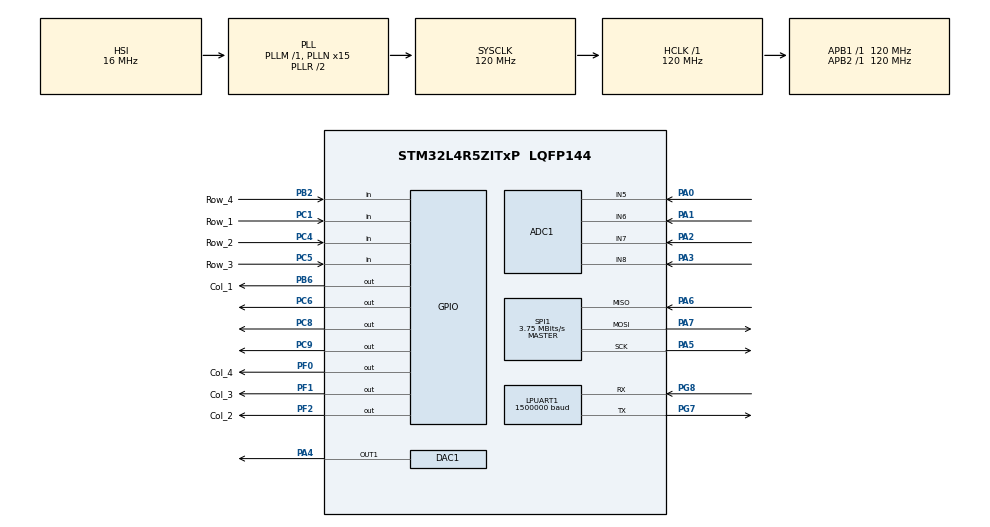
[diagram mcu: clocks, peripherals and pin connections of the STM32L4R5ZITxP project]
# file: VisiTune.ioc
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ADC1.Channel-0\#ChannelRegularConversion=ADC_CHANNEL_5
ADC1.Channel-1\#ChannelRegularConversion=ADC_CHANNEL_6
ADC1.Channel-2\#ChannelRegularConversion=ADC_CHANNEL_7
ADC1.Channel-3\#ChannelRegularConversion=ADC_CHANNEL_8
ADC1.ContinuousConvMode=DISABLE
ADC1.DMAContinuousRequests=DISABLE
ADC1.ExternalTrigConv=ADC_SOFTWARE_START
ADC1.NbrOfConversion=4
ADC1.NbrOfConversionFlag=1
ADC1.OffsetNumber-0\#ChannelRegularConversion=ADC_OFFSET_NONE
ADC1.OffsetNumber-1\#ChannelRegularConversion=ADC_OFFSET_NONE
ADC1.OffsetNumber-2\#ChannelRegularConversion=ADC_OFFSET_NONE
ADC1.OffsetNumber-3\#ChannelRegularConversion=ADC_OFFSET_NONE
ADC1.Rank-0\#ChannelRegularConversion=1
ADC1.Rank-1\#ChannelRegularConversion=2
ADC1.Rank-2\#ChannelRegularConversion=3
ADC1.Rank-3\#ChannelRegularConversion=4
ADC1.SamplingTime-0\#ChannelRegularConversion=ADC_SAMPLETIME_247CYCLES_5
ADC1.SamplingTime-1\#ChannelRegularConversion=ADC_SAMPLETIME_247CYCLES_5
ADC1.SamplingTime-2\#ChannelRegularConversion=ADC_SAMPLETIME_247CYCLES_5
ADC1.SamplingTime-3\#ChannelRegularConversion=ADC_SAMPLETIME_247CYCLES_5
ADC1.master=1
DAC1.DAC_Trigger-DAC_OUT1=DAC_TRIGGER_T2_TRGO
Dma.ADC1.1.Direction=DMA_PERIPH_TO_MEMORY
Dma.ADC1.1.EventEnable=DISABLE
Dma.ADC1.1.Instance=DMA1_Channel2
Dma.ADC1.1.MemDataAlignment=DMA_MDATAALIGN_HALFWORD
Dma.ADC1.1.MemInc=DMA_MINC_ENABLE
Dma.ADC1.1.Mode=DMA_CIRCULAR
Dma.ADC1.1.PeriphDataAlignment=DMA_PDATAALIGN_HALFWORD
Dma.ADC1.1.PeriphInc=DMA_PINC_DISABLE
Dma.ADC1.1.Polarity=HAL_DMAMUX_REQUEST_GEN_RISING
Dma.ADC1.1.Priority=DMA_PRIORITY_LOW
Dma.ADC1.1.RequestNumber=1
Dma.ADC1.1.SignalID=NONE
Dma.ADC1.1.SyncEnable=DISABLE
Dma.ADC1.1.SyncPolarity=HAL_DMAMUX_SYNC_NO_EVENT
Dma.ADC1.1.SyncRequestNumber=1
Dma.ADC1.1.SyncSignalID=NONE
Dma.DAC1_CH1.0.Direction=DMA_MEMORY_TO_PERIPH
Dma.DAC1_CH1.0.EventEnable=DISABLE
Dma.DAC1_CH1.0.Instance=DMA1_Channel1
Dma.DAC1_CH1.0.MemDataAlignment=DMA_MDATAALIGN_HALFWORD
Dma.DAC1_CH1.0.MemInc=DMA_MINC_ENABLE
Dma.DAC1_CH1.0.Mode=DMA_CIRCULAR
Dma.DAC1_CH1.0.PeriphDataAlignment=DMA_PDATAALIGN_HALFWORD
Dma.DAC1_CH1.0.PeriphInc=DMA_PINC_DISABLE
Dma.DAC1_CH1.0.Polarity=HAL_DMAMUX_REQUEST_GEN_RISING
Dma.DAC1_CH1.0.Priority=DMA_PRIORITY_LOW
Dma.DAC1_CH1.0.RequestNumber=1
Dma.DAC1_CH1.0.SignalID=NONE
Dma.DAC1_CH1.0.SyncEnable=DISABLE
Dma.DAC1_CH1.0.SyncPolarity=HAL_DMAMUX_SYNC_NO_EVENT
Dma.DAC1_CH1.0.SyncRequestNumber=1
Dma.DAC1_CH1.0.SyncSignalID=NONE
Dma.LPUART1_RX.2.Direction=DMA_PERIPH_TO_MEMORY
Dma.LPUART1_RX.2.EventEnable=DISABLE
Dma.LPUART1_RX.2.Instance=DMA1_Channel3
Dma.LPUART1_RX.2.MemDataAlignment=DMA_MDATAALIGN_BYTE
Dma.LPUART1_RX.2.MemInc=DMA_MINC_ENABLE
Dma.LPUART1_RX.2.Mode=DMA_NORMAL
Dma.LPUART1_RX.2.PeriphDataAlignment=DMA_PDATAALIGN_BYTE
Dma.LPUART1_RX.2.PeriphInc=DMA_PINC_DISABLE
Dma.LPUART1_RX.2.Polarity=HAL_DMAMUX_REQUEST_GEN_RISING
Dma.LPUART1_RX.2.Priority=DMA_PRIORITY_LOW
Dma.LPUART1_RX.2.RequestNumber=1
Dma.LPUART1_RX.2.SignalID=NONE
Dma.LPUART1_RX.2.SyncEnable=DISABLE
Dma.LPUART1_RX.2.SyncPolarity=HAL_DMAMUX_SYNC_NO_EVENT
Dma.LPUART1_RX.2.SyncRequestNumber=1
Dma.LPUART1_RX.2.SyncSignalID=NONE
Dma.Request0=DAC1_CH1
Dma.Request1=ADC1
Dma.Request2=LPUART1_RX
LPUART1.BaudRate=1500000
LPUART1.WordLength=UART_WORDLENGTH_8B
Mcu.Family=STM32L4
Mcu.Name=STM32L4R5ZITxP
Mcu.Package=LQFP144
NVIC.ADC1_IRQn=true\:0\:0\:false\:false\:true\:true\:true\:true
NVIC.DMA1_Channel1_IRQn=true\:0\:0\:false\:false\:true\:false\:true\:true
NVIC.DMA1_Channel2_IRQn=true\:0\:0\:false\:false\:true\:false\:true\:true
NVIC.DMA1_Channel3_IRQn=true\:0\:0\:false\:false\:true\:false\:true\:true
NVIC.PriorityGroup=NVIC_PRIORITYGROUP_4
PA0.Signal=ADCx_IN5
PA1.Signal=ADCx_IN6
PA10.Signal=USB_OTG_FS_ID
PA13\ (JTMS/SWDIO).Signal=SYS_JTMS-SWDIO
PA14\ (JTCK/SWCLK).Signal=SYS_JTCK-SWCLK
PA2.Signal=ADCx_IN7
PA3.Signal=ADCx_IN8
PA4.Signal=COMP_DAC11_group
PA5.Mode=Full_Duplex_Master
PA5.Signal=SPI1_SCK
PA6.Mode=Full_Duplex_Master
PA6.Signal=SPI1_MISO
PA7.Mode=Full_Duplex_Master
PA7.Signal=SPI1_MOSI
PA8.Signal=USB_OTG_FS_SOF
PA9.Signal=USB_OTG_FS_VBUS
PB0.Signal=S_TIM3_CH3
PB1.Signal=ADCx_IN16
PB10.Signal=S_TIM2_CH3
PB12.Signal=SAI2_FS_A
PB13.Signal=SAI2_SCK_A
PB14.Signal=S_TIM15_CH1
PB15.Signal=SAI2_SD_A
PB2.GPIO_Label=Row_4
PB2.GPIO_PuPd=GPIO_PULLUP
PB2.Signal=GPIO_Input
PB3\ (JTDO/TRACESWO).Signal=SPI3_SCK
PB4\ (NJTRST).Signal=SPI3_MISO
PB5.Signal=SPI3_MOSI
PB6.GPIO_Label=Col_1
PB6.Signal=GPIO_Output
PB8.Signal=I2C1_SCL
PB9.Signal=I2C1_SDA
PC0.Signal=ADCx_IN1
PC1.GPIO_Label=Row_1
PC1.GPIO_Mode=GPIO_MODE_INPUT
PC1.GPIO_PuPd=GPIO_PULLUP
PC1.Signal=GPIO_Input
PC10.Signal=SDMMC1_D2
PC11.Signal=SDMMC1_D3
PC12.Signal=SDMMC1_CK
PC13.Signal=SYS_WKUP2
PC14-OSC32_IN\ (PC14).Signal=RCC_OSC32_IN
PC15-OSC32_OUT\ (PC15).Signal=RCC_OSC32_OUT
PC2.Signal=ADCx_IN3
PC3.Signal=ADCx_IN4
PC4.GPIO_Label=Row_2
PC4.GPIO_Mode=GPIO_MODE_INPUT
PC4.GPIO_PuPd=GPIO_PULLUP
PC4.Signal=GPIO_Input
PC5.GPIO_Label=Row_3
PC5.GPIO_Mode=GPIO_MODE_INPUT
PC5.GPIO_PuPd=GPIO_PULLUP
PC5.Signal=GPIO_Input
PC6.Signal=GPIO_Output
PC7.Signal=S_TIM3_CH2
PC8.Signal=GPIO_Output
PC9.Signal=GPIO_Output
PD0.Signal=CAN1_RX
PD14.Signal=S_TIM4_CH3
PD15.Signal=S_TIM4_CH4
PD2.Signal=SDMMC1_CMD
PD3.Signal=USART2_CTS
PD5.Signal=USART2_TX
PD6.Signal=USART2_RX
PD8.Signal=USART3_TX
PD9.Signal=USART3_RX
PE0.Signal=S_TIM4_ETR
PE10.Signal=TIM1_CH2N
PE11.Signal=S_TIM1_CH2
PE12.Signal=TIM1_CH3N
PE13.Signal=S_TIM1_CH3
PE14.Signal=TIM1_BKIN2
PE15.Signal=TIM1_BKIN
PE2.Signal=SAI1_MCLK_A
PE3.Signal=SAI1_SD_B
PE7.Signal=S_TIM1_ETR
PE8.Signal=TIM1_CH1N
PE9.Signal=S_TIM1_CH1
PF0.GPIO_Label=Col_4
PF0.Signal=GPIO_Output
PF1.GPIO_Label=Col_3
PF1.Signal=GPIO_Output
PF2.GPIO_Label=Col_2
PF2.Signal=GPIO_Output
PF7.Signal=SAI1_MCLK_B
PG7.Mode=Asynchronous
PG7.Signal=LPUART1_TX
PG8.Mode=Asynchronous
PG8.Signal=LPUART1_RX
PH0-OSC_IN\ (PH0).Signal=RCC_OSC_IN
PH1-OSC_OUT\ (PH1).Signal=RCC_OSC_OUT
ProjectManager.HeapSize=0x200
ProjectManager.StackSize=0x400
ProjectManager.TargetToolchain=STM32CubeIDE
RCC.ADCFreq_Value=64000000
RCC.AHBFreq_Value=120000000
RCC.APB1Freq_Value=120000000
RCC.APB1TimFreq_Value=120000000
RCC.APB2Freq_Value=120000000
RCC.APB2TimFreq_Value=120000000
RCC.CortexFreq_Value=120000000
RCC.HCLKFreq_Value=120000000
RCC.HSE_VALUE=8000000
RCC.HSI48_VALUE=48000000
RCC.HSI_VALUE=16000000
RCC.LPUART1CLockSelection=RCC_LPUART1CLKSOURCE_HSI
RCC.LSE_VALUE=32768
RCC.MSI_VALUE=4000000
RCC.PLLN=15
RCC.PLLSourceVirtual=RCC_PLLSOURCE_HSI
RCC.SYSCLKFreq_VALUE=120000000
RCC.SYSCLKSource=RCC_SYSCLKSOURCE_PLLCLK
RCC.USBFreq_Value=64000000
RCC.VCOOutputFreq_Value=240000000
SH.ADCx_IN1.0=ADC1_IN1
SH.ADCx_IN16.0=ADC1_IN16
SH.ADCx_IN3.0=ADC1_IN3
SH.ADCx_IN4.0=ADC1_IN4
SH.ADCx_IN5.0=ADC1_IN5,IN5-Single-Ended
SH.ADCx_IN6.0=ADC1_IN6,IN6-Single-Ended
SH.ADCx_IN7.0=ADC1_IN7,IN7-Single-Ended
SH.ADCx_IN8.0=ADC1_IN8,IN8-Single-Ended
SH.COMP_DAC11_group.0=DAC1_OUT1,DAC_OUT1
SH.S_TIM15_CH1.0=TIM15_CH1
SH.S_TIM1_CH1.0=TIM1_CH1
SH.S_TIM1_CH2.0=TIM1_CH2
SH.S_TIM1_CH3.0=TIM1_CH3
SH.S_TIM1_ETR.0=TIM1_ETR
SH.S_TIM2_CH3.0=TIM2_CH3
SH.S_TIM3_CH2.0=TIM3_CH2
SH.S_TIM3_CH3.0=TIM3_CH3
SH.S_TIM4_CH3.0=TIM4_CH3
SH.S_TIM4_CH4.0=TIM4_CH4
SH.S_TIM4_ETR.0=TIM4_ETR
SPI1.BaudRatePrescaler=SPI_BAUDRATEPRESCALER_32
SPI1.CalculateBaudRate=3.75 MBits/s
SPI1.DataSize=SPI_DATASIZE_8BIT
SPI1.Direction=SPI_DIRECTION_2LINES
SPI1.Mode=SPI_MODE_MASTER
SPI1.VirtualType=VM_MASTER
TIM1.AutoReloadPreload=TIM_AUTORELOAD_PRELOAD_ENABLE
TIM1.Period=49
TIM1.Prescaler=119
TIM2.Period=4999
TIM2.TIM_MasterOutputTrigger=TIM_TRGO_UPDATE
TIM3.TIM_MasterOutputTrigger=TIM_TRGO_UPDATE
VP_TIM1_VS_ClockSourceINT.Mode=Internal
VP_TIM2_VS_ClockSourceINT.Mode=Internal
VP_TIM3_VS_ClockSourceINT.Mode=Internal
board=NUCLEO-L4R5ZI-P

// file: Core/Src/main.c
/* USER CODE BEGIN Header */
/**
  ******************************************************************************
  * @file           : main.c
  * @brief          : Main program body
  ******************************************************************************
  * @attention
  *
  * Copyright (c) 2025 STMicroelectronics.
  * All rights reserved.
  *
  * This software is licensed under terms that can be found in the LICENSE file
  * in the root directory of this software component.
  * If no LICENSE file comes with this software, it is provided AS-IS.
  *
  ******************************************************************************
  */
/* USER CODE END Header */
#include "main.h"

/* USER CODE BEGIN Includes */
#include "packets.h"
#include "tft.h"
#include <string.h>
#include "arm_math.h"

/* USER CODE END Includes */

ADC_HandleTypeDef hadc1;
DMA_HandleTypeDef hdma_adc1;

DAC_HandleTypeDef hdac1;
DMA_HandleTypeDef hdma_dac1_ch1;

UART_HandleTypeDef hlpuart1;
DMA_HandleTypeDef hdma_lpuart1_rx;

SPI_HandleTypeDef hspi1;

TIM_HandleTypeDef htim1;
TIM_HandleTypeDef htim2;
TIM_HandleTypeDef htim3;

/* USER CODE BEGIN PV */
// ADC declarations
uint16_t adc_buf[4];
uint8_t rewind_flag = 0;
uint8_t pause_state = 0;
uint8_t forward_flag = 0;

// Keypad reading
char keyPress;

#define PKT_SYNC_SIZE    2   // 0xA5, 0x5A
#define PKT_HEADER_SIZE  (sizeof(pkt_header_t))  // 7 bytes (packed)
#define PKT_PREFIX_SIZE  (PKT_SYNC_SIZE + PKT_HEADER_SIZE) // 9 bytes before payload
#define PKT_CRC_SIZE     2

#define UART_ACK_HEADER  'H'
#define UART_ACK_OK      'S'
#define UART_ACK_ERR     'E'
#define UART_ACK_NEXT_AUDIO_CHUNK 'A'

// Packet size/overhead (must match Python script)
#define PKT_OVERHEAD     (PKT_SYNC_SIZE + PKT_HEADER_SIZE + PKT_CRC_SIZE) // 11
#define PKT_MAX_SIZE     0xFFFFu  // total packet: sync+header+payload+CRC

#define IMG_PKT_MAX_SIZE     PKT_MAX_SIZE
#define AUD_PKT_MAX_SIZE     PKT_MAX_SIZE

#define IMG_MAX_PAYLOAD_BYTES  (IMG_PKT_MAX_SIZE - PKT_OVERHEAD)
#define AUD_MAX_PAYLOAD_BYTES  (AUD_PKT_MAX_SIZE - PKT_OVERHEAD)

// DAC circular buffer: 2 halves, each half holds one max audio payload worth of samples
// 2 bytes per 16-bit PCM sample => samples = bytes/2
#define DAC_HALF_SAMPLES   (AUD_MAX_PAYLOAD_BYTES / 2u)
#define DAC_BUF_SAMPLES    (2u * DAC_HALF_SAMPLES)

// UART RX context
typedef enum {
RX_STATE_WAIT_PREFIX,   // waiting for 2 sync + 7 header bytes
RX_STATE_WAIT_PAYLOAD,  // waiting for payload (image or audio)
RX_STATE_WAIT_CRC       // waiting for audio CRC (2 bytes)
} uart_rx_state_t;

typedef struct {
	uart_rx_state_t state;
	uint8_t  prefix_buf[PKT_PREFIX_SIZE];  // 9 bytes: sync + header
	pkt_header_t header;
	uint16_t payload_len;
	uint8_t *payload_dst;                  // destination buffer for payload+CRC
} uart_rx_ctx_t;

uart_rx_ctx_t g_uart_rx;

// Buffers
uint16_t dac_buf[DAC_BUF_SAMPLES];  // DAC circular buffer

uint8_t image_pkt_buf[IMG_MAX_PAYLOAD_BYTES + PKT_CRC_SIZE];

// Audio RX views onto dac_buf halves
uint8_t *audio_pkt_buf0 = (uint8_t *)dac_buf;                      // first half
uint8_t *audio_pkt_buf1 = (uint8_t *)&dac_buf[DAC_HALF_SAMPLES];   // second half

// NEW: CRC storage for audio packets
uint8_t audio_crc_buf[PKT_CRC_SIZE];

// Flags
volatile uint8_t  image_pkt_ready = 0;
volatile uint16_t image_pkt_len   = 0;

volatile uint8_t  audio_pkt_ready = 0;
volatile uint8_t  audio_write_idx = 0;   // 0 or 1
volatile uint16_t audio_pkt_len   = 0;

// Which halves of dac_buf are free to write into
volatile uint8_t half0_free = 1;  // dac_buf[0 .. DAC_HALF_SAMPLES-1]
volatile uint8_t half1_free = 1;  // dac_buf[DAC_HALF_SAMPLES .. end]

q15_t filter_buf[DAC_HALF_SAMPLES];
#define FFT_SIZE 1024
#define FFT_INCREMENT (FFT_SIZE / 2)

float32_t fft_in[FFT_SIZE];
float32_t fft_out[FFT_SIZE];
float32_t overlap[FFT_INCREMENT];
static float32_t window[FFT_SIZE];
q15_t debug_out_buffer[DAC_HALF_SAMPLES];

arm_rfft_fast_instance_f32 rfft;

//END FILTERING
/* USER CODE END PV */

void SystemClock_Config(void);
static void MX_GPIO_Init(void);
static void MX_DMA_Init(void);
static void MX_SPI1_Init(void);
static void MX_TIM1_Init(void);
static void MX_DAC1_Init(void);
static void MX_TIM2_Init(void);
static void MX_ADC1_Init(void);
static void MX_TIM3_Init(void);
static void MX_LPUART1_UART_Init(void);
/* USER CODE BEGIN PFP */
static void uart_start_header_rx(void);
void processFFT(const q15_t* in, q15_t* out, uint16_t num_samples);
void ADC_ReadAll_Polling(void);

/* USER CODE END PFP */

/* USER CODE BEGIN 0 */

void ADC_ReadAll_Polling(void)
{
  	HAL_ADC_Start(&hadc1);
    for (int i = 0; i < 4; i++)
    {
        if (HAL_ADC_PollForConversion(&hadc1, 5) == HAL_OK)
        {
            adc_buf[i] = HAL_ADC_GetValue(&hadc1);
        }
    }
}

void processFFT(const q15_t* in, q15_t* out, uint16_t num_samples) {
	uint32_t pos = 0;
	ADC_ReadAll_Polling();
	while ((pos + FFT_INCREMENT) <= num_samples) {
		for (int i = 0; i < FFT_SIZE; i++) {
			float32_t sample = 0.0f;
		    if (pos + i < num_samples) {
		    	sample = (float32_t)in[pos + i] / 32768.0f;  // q15 → float
		    }
		    fft_in[i] = sample * window[i];
		}

		arm_rfft_fast_f32(&rfft, fft_in, fft_out, 0);

		int low_bin = 40;
		int high_bin = 90;
		//determine lowShelfGain (tied to adc_buf[0]
		uint32_t dial0 = adc_buf[0];
		if (dial0 < 15) dial0 = 0;
		if (dial0 > 4000) dial0 = 4000;
		uint32_t dial1 = adc_buf[1];
		if (dial1 < 15) dial1 = 0;
		if (dial1 > 4000) dial1 = 4000;
		float32_t lowShelfGain = (dial0 * 1.0)/2000 * 1.0f;
		float32_t highShelfGain = (dial1 * 1.0)/2000 * 1.0f;

		for (int b = 0; b < low_bin; b++) {
			float32_t t = (float)b / (float)low_bin; // 0..1
			float32_t weight = lowShelfGain + (1.0f - lowShelfGain) * t;
			fft_out[b*2] *= weight;
			fft_out[b*2+1] *= weight;
		}

		for (int b = low_bin; b < high_bin; b++) {
//			float32_t t = (float)(b - high_bin) / (float)((300 - high_bin) - 1); // 0..1
//			float32_t weight = 1.0f + (highShelfGain - 1.0f) * t;
			float32_t t = (float)b / (float)low_bin; // 0..1
			float32_t weight = highShelfGain + (1.0f - highShelfGain) * t;
			fft_out[b*2] *= weight;
			fft_out[b*2+1] *= weight;
		}

		arm_rfft_fast_f32(&rfft, fft_out, fft_in, 1);

		//don't get this
		for (int i = 0; i < FFT_INCREMENT; i++) {
			fft_in[i] += overlap[i];
		}
		//end don't get this

		for (int i = 0; i < FFT_INCREMENT && pos + i < num_samples; i++) {
			float32_t x = fft_in[i];
			if (x > 0.8f) x = 0.8f; //used to be 1.0
			if (x < -0.8f) x = -0.8f; //same
			out[pos + i] = (int16_t)(x * 32767.0f);
		}

		for (int i = 0; i < FFT_INCREMENT; ++i) {
			overlap[i] = fft_in[i+FFT_INCREMENT];
		}

		pos += FFT_INCREMENT;
	}
}

char read_keypad() {
	// Row pins
	GPIO_TypeDef* ROW_PORT[4] = {Row_1_GPIO_Port, Row_2_GPIO_Port, Row_3_GPIO_Port, Row_4_GPIO_Port};
	uint16_t      ROW_PIN[4]  = {Row_1_Pin,       Row_2_Pin,       Row_3_Pin,       Row_4_Pin};

	// Col pins
	GPIO_TypeDef* COL_PORT[4] = {Col_1_GPIO_Port, Col_2_GPIO_Port, Col_3_GPIO_Port, Col_4_GPIO_Port};
	uint16_t     COL_PIN[4]  = {Col_1_Pin,       Col_2_Pin,       Col_3_Pin,       Col_4_Pin};

	// Key map (customize to your keypad)
	char KEY_MAP[4][4] =
	{
		{'1','2','3','A'},
		{'4','5','6','B'},
		{'7','8','9','C'},
		{'*','0','#','D'}
	};

	for (int c = 0; c < 4; c++)
	{
		// Drive all columns HIGH
		for (int i = 0; i < 4; i++)
			HAL_GPIO_WritePin(COL_PORT[i], COL_PIN[i], GPIO_PIN_SET);

		// Drive only this column LOW
		HAL_GPIO_WritePin(COL_PORT[c], COL_PIN[c], GPIO_PIN_RESET);

		HAL_Delay(1); // settle time

		// Read each row
		for (int r = 0; r < 4; r++)
		{
			if (HAL_GPIO_ReadPin(ROW_PORT[r], ROW_PIN[r]) == GPIO_PIN_RESET)
			{
				HAL_Delay(20);   // debounce
				if (HAL_GPIO_ReadPin(ROW_PORT[r], ROW_PIN[r]) == GPIO_PIN_RESET)
					return KEY_MAP[r][c];
			}
		}
	}

	return 0;
}

/* USER CODE END 0 */

int main(void)
{

  /* MCU Configuration--------------------------------------------------------*/

  /* Reset of all peripherals, Initializes the Flash interface and the Systick. */
  HAL_Init();

  /* Configure the system clock */
  SystemClock_Config();

  /* Initialize all configured peripherals */
  MX_GPIO_Init();
  MX_DMA_Init();
  MX_SPI1_Init();
  MX_TIM1_Init();
  MX_DAC1_Init();
  MX_TIM2_Init();
  MX_ADC1_Init();
  MX_TIM3_Init();
  MX_LPUART1_UART_Init();
  /* USER CODE BEGIN 2 */
//  tft_init();
//  tft_fill_rect(0, 0, 480, 320, 0xAAAA);
  // HAL_GPIO_WritePin(GPIOC, GPIO_PIN_6, GPIO_PIN_SET); // LED ON

  uart_start_header_rx();

  /* Start TIM2 (48 kHz trigger) */
  HAL_TIM_Base_Start(&htim2);

  /* Init DAC circular buffer to mid-scale (silence) */
  for (uint32_t i = 0; i < DAC_BUF_SAMPLES; ++i) {
      dac_buf[i] = 2048; // mid-scale for 12-bit
  }

  /* Start DAC in circular DMA mode over dac_buf */
  if (HAL_DAC_Start_DMA(&hdac1,
                        DAC_CHANNEL_1,
                        (uint32_t *)dac_buf,
                        DAC_BUF_SAMPLES,
                        DAC_ALIGN_12B_R) != HAL_OK) {
      Error_Handler();
  }

  //INIT FIR
  arm_rfft_fast_init_f32(&rfft, FFT_SIZE);
  for (int i = 0; i < FFT_SIZE; i++) {
      window[i] = 0.5f - 0.5f * arm_cos_f32((2 * PI * i) / (FFT_SIZE - 1));
  }
  memset(overlap, 0, sizeof(overlap));
  //END INIT FIR

  // Start the ADC reads for the potentiometers and sliders
  HAL_ADCEx_Calibration_Start(&hadc1, ADC_SINGLE_ENDED);
//  HAL_TIM_Base_Start(&htim3);

  /* USER CODE END 2 */

  /* Infinite loop */
  /* USER CODE BEGIN WHILE */

  while (1)
  {

	  keyPress = read_keypad();
	  // 1) Handle image packets
	  if (image_pkt_ready) {
	      __disable_irq();
	      uint16_t payload_len = image_pkt_len;   // bytes of image payload
	      image_pkt_ready = 0;
	      __enable_irq();

	      if (payload_len  <= sizeof(image_pkt_buf)) {

	          uint16_t recv_crc =
	              ((uint16_t)image_pkt_buf[payload_len] << 8) |
	               (uint16_t)image_pkt_buf[payload_len + 1];

	          uint16_t calc_crc = crc16_ccitt(&g_uart_rx.prefix_buf[2], image_pkt_buf, payload_len);

	          if (calc_crc != recv_crc) {
	              uint8_t nack = UART_ACK_ERR;
	              HAL_UART_Transmit(&hlpuart1, &nack, 1, 10);
	          } else {
	              // Example: full-frame 480x320 RGB565
	        	  parse_and_apply_image_packet(image_pkt_buf, payload_len);
	              // else: decode according to your actual format.

	              uint8_t ack = UART_ACK_OK;
	              HAL_UART_Transmit(&hlpuart1, &ack, 1, 10);
	          }
	      } else {
	          uint8_t nack = UART_ACK_ERR;
	          HAL_UART_Transmit(&hlpuart1, &nack, 1, 10);
	      }
	  }

	  // 2) Handle audio packets (fill halves of dac_buf, DAC runs continuously)
      // 2) Handle audio packets (convert in-place in dac_buf, DAC runs continuously)
	  if (audio_pkt_ready) {
	      __disable_irq();
	      uint8_t  idx         = audio_write_idx;  // 0 or 1
	      uint16_t payload_len = audio_pkt_len;    // bytes of audio payload
	      audio_pkt_ready = 0;
	      __enable_irq();

	      // Sanity-check payload length vs half-buffer size
	      if (payload_len > AUD_MAX_PAYLOAD_BYTES) {
	          uint8_t nack = UART_ACK_ERR;
	          HAL_UART_Transmit(&hlpuart1, &nack, 1, 10);
	          continue;
	      }

	      // CRC from separate buffer (big-endian: [hi][lo])
	      uint16_t recv_crc =
	          ((uint16_t)audio_crc_buf[0] << 8) |
	           (uint16_t)audio_crc_buf[1];

	      // Payload lives in selected half of dac_buf
	      uint8_t *payload_bytes = (uint8_t *)(
	          (idx == 0)
	          ? &dac_buf[0]
	          : &dac_buf[DAC_HALF_SAMPLES]
	      );

	      uint16_t calc_crc = crc16_ccitt(&g_uart_rx.prefix_buf[2],
	                                      payload_bytes,
	                                      payload_len);

	      if (calc_crc != recv_crc) {
	          uint8_t nack = UART_ACK_ERR;
	          HAL_UART_Transmit(&hlpuart1, &nack, 1, 10);
	          continue;
	      }

	      // Good packet. Convert in-place in chosen half of dac_buf.
	      uint16_t num_samples = payload_len / 2;  // 2 bytes/sample
	      if (num_samples > DAC_HALF_SAMPLES) {
	          num_samples = DAC_HALF_SAMPLES;
	      }

	      int16_t  *src = (int16_t *)payload_bytes;        // signed PCM
	      uint16_t *dst = (uint16_t *)payload_bytes;       // same locations for DAC

	      processFFT(src, filter_buf, num_samples);

	      //Below translates src into the dst. Our goal is to turn src into the output of the FFT
	      for (uint16_t i = 0; i < num_samples; ++i) {
	          int32_t s = filter_buf[i];      // -32768..32767
	          s += 32768;              // 0..65535
	          if (s < 0)      s = 0;
	          if (s > 65535)  s = 65535;
	          dst[i] = (uint16_t)(s >> 4);   // 12-bit right aligned
	      }

	      // Pad rest of half with mid-scale if packet smaller than half
	      for (uint16_t i = num_samples; i < DAC_HALF_SAMPLES; ++i) {
	          dst[i] = 2048;
	      }

	      //dst[i] should be what we're outputting, here is where we'll mess with it

	      // Tell PC this packet was accepted and written into that half
	      uint8_t ack = UART_ACK_OK;
	      HAL_UART_Transmit(&hlpuart1, &ack, 1, 10);
	  }

    /* USER CODE END WHILE */

  }
}

void SystemClock_Config(void)
{
  RCC_OscInitTypeDef RCC_OscInitStruct = {0};
  RCC_ClkInitTypeDef RCC_ClkInitStruct = {0};

  /** Configure the main internal regulator output voltage
  */
  if (HAL_PWREx_ControlVoltageScaling(PWR_REGULATOR_VOLTAGE_SCALE1_BOOST) != HAL_OK)
  {
    Error_Handler();
  }

  /** Initializes the RCC Oscillators according to the specified parameters
  * in the RCC_OscInitTypeDef structure.
  */
  RCC_OscInitStruct.OscillatorType = RCC_OSCILLATORTYPE_HSI;
  RCC_OscInitStruct.HSIState = RCC_HSI_ON;
  RCC_OscInitStruct.HSICalibrationValue = RCC_HSICALIBRATION_DEFAULT;
  RCC_OscInitStruct.PLL.PLLState = RCC_PLL_ON;
  RCC_OscInitStruct.PLL.PLLSource = RCC_PLLSOURCE_HSI;
  RCC_OscInitStruct.PLL.PLLM = 1;
  RCC_OscInitStruct.PLL.PLLN = 15;
  RCC_OscInitStruct.PLL.PLLP = RCC_PLLP_DIV2;
  RCC_OscInitStruct.PLL.PLLQ = RCC_PLLQ_DIV2;
  RCC_OscInitStruct.PLL.PLLR = RCC_PLLR_DIV2;
  if (HAL_RCC_OscConfig(&RCC_OscInitStruct) != HAL_OK)
  {
    Error_Handler();
  }

  /** Initializes the CPU, AHB and APB buses clocks
  */
  RCC_ClkInitStruct.ClockType = RCC_CLOCKTYPE_HCLK|RCC_CLOCKTYPE_SYSCLK
                              |RCC_CLOCKTYPE_PCLK1|RCC_CLOCKTYPE_PCLK2;
  RCC_ClkInitStruct.SYSCLKSource = RCC_SYSCLKSOURCE_PLLCLK;
  RCC_ClkInitStruct.AHBCLKDivider = RCC_SYSCLK_DIV1;
  RCC_ClkInitStruct.APB1CLKDivider = RCC_HCLK_DIV1;
  RCC_ClkInitStruct.APB2CLKDivider = RCC_HCLK_DIV1;

  if (HAL_RCC_ClockConfig(&RCC_ClkInitStruct, FLASH_LATENCY_5) != HAL_OK)
  {
    Error_Handler();
  }
}

static void MX_ADC1_Init(void)
{

  ADC_ChannelConfTypeDef sConfig = {0};

  /** Common config
  */
  hadc1.Instance = ADC1;
  hadc1.Init.ClockPrescaler = ADC_CLOCK_ASYNC_DIV1;
  hadc1.Init.Resolution = ADC_RESOLUTION_12B;
  hadc1.Init.DataAlign = ADC_DATAALIGN_RIGHT;
  hadc1.Init.ScanConvMode = ADC_SCAN_ENABLE;
  hadc1.Init.EOCSelection = ADC_EOC_SINGLE_CONV;
  hadc1.Init.LowPowerAutoWait = DISABLE;
  hadc1.Init.ContinuousConvMode = DISABLE;
  hadc1.Init.NbrOfConversion = 4;
  hadc1.Init.DiscontinuousConvMode = DISABLE;
  hadc1.Init.ExternalTrigConv = ADC_SOFTWARE_START;
  hadc1.Init.ExternalTrigConvEdge = ADC_EXTERNALTRIGCONVEDGE_NONE;
  hadc1.Init.DMAContinuousRequests = DISABLE;
  hadc1.Init.Overrun = ADC_OVR_DATA_PRESERVED;
  hadc1.Init.OversamplingMode = DISABLE;
  if (HAL_ADC_Init(&hadc1) != HAL_OK)
  {
    Error_Handler();
  }

  /** Configure Regular Channel
  */
  sConfig.Channel = ADC_CHANNEL_5;
  sConfig.Rank = ADC_REGULAR_RANK_1;
  sConfig.SamplingTime = ADC_SAMPLETIME_247CYCLES_5;
  sConfig.SingleDiff = ADC_SINGLE_ENDED;
  sConfig.OffsetNumber = ADC_OFFSET_NONE;
  sConfig.Offset = 0;
  if (HAL_ADC_ConfigChannel(&hadc1, &sConfig) != HAL_OK)
  {
    Error_Handler();
  }

  /** Configure Regular Channel
  */
  sConfig.Channel = ADC_CHANNEL_6;
  sConfig.Rank = ADC_REGULAR_RANK_2;
  if (HAL_ADC_ConfigChannel(&hadc1, &sConfig) != HAL_OK)
  {
    Error_Handler();
  }

  /** Configure Regular Channel
  */
  sConfig.Channel = ADC_CHANNEL_7;
  sConfig.Rank = ADC_REGULAR_RANK_3;
  if (HAL_ADC_ConfigChannel(&hadc1, &sConfig) != HAL_OK)
  {
    Error_Handler();
  }

  /** Configure Regular Channel
  */
  sConfig.Channel = ADC_CHANNEL_8;
  sConfig.Rank = ADC_REGULAR_RANK_4;
  if (HAL_ADC_ConfigChannel(&hadc1, &sConfig) != HAL_OK)
  {
    Error_Handler();
  }

}

static void MX_DAC1_Init(void)
{

  DAC_ChannelConfTypeDef sConfig = {0};

  /** DAC Initialization
  */
  hdac1.Instance = DAC1;
  if (HAL_DAC_Init(&hdac1) != HAL_OK)
  {
    Error_Handler();
  }

  /** DAC channel OUT1 config
  */
  sConfig.DAC_SampleAndHold = DAC_SAMPLEANDHOLD_DISABLE;
  sConfig.DAC_Trigger = DAC_TRIGGER_T2_TRGO;
  sConfig.DAC_HighFrequency = DAC_HIGH_FREQUENCY_INTERFACE_MODE_ABOVE_80MHZ;
  sConfig.DAC_OutputBuffer = DAC_OUTPUTBUFFER_ENABLE;
  sConfig.DAC_ConnectOnChipPeripheral = DAC_CHIPCONNECT_DISABLE;
  sConfig.DAC_UserTrimming = DAC_TRIMMING_FACTORY;
  if (HAL_DAC_ConfigChannel(&hdac1, &sConfig, DAC_CHANNEL_1) != HAL_OK)
  {
    Error_Handler();
  }

}

static void MX_LPUART1_UART_Init(void)
{

  hlpuart1.Instance = LPUART1;
  hlpuart1.Init.BaudRate = 1500000;
  hlpuart1.Init.WordLength = UART_WORDLENGTH_8B;
  hlpuart1.Init.StopBits = UART_STOPBITS_1;
  hlpuart1.Init.Parity = UART_PARITY_NONE;
  hlpuart1.Init.Mode = UART_MODE_TX_RX;
  hlpuart1.Init.HwFlowCtl = UART_HWCONTROL_NONE;
  hlpuart1.Init.OneBitSampling = UART_ONE_BIT_SAMPLE_DISABLE;
  hlpuart1.Init.ClockPrescaler = UART_PRESCALER_DIV1;
  hlpuart1.AdvancedInit.AdvFeatureInit = UART_ADVFEATURE_NO_INIT;
  hlpuart1.FifoMode = UART_FIFOMODE_DISABLE;
  if (HAL_UART_Init(&hlpuart1) != HAL_OK)
  {
    Error_Handler();
  }
  if (HAL_UARTEx_SetTxFifoThreshold(&hlpuart1, UART_TXFIFO_THRESHOLD_1_8) != HAL_OK)
  {
    Error_Handler();
  }
  if (HAL_UARTEx_SetRxFifoThreshold(&hlpuart1, UART_RXFIFO_THRESHOLD_1_8) != HAL_OK)
  {
    Error_Handler();
  }
  if (HAL_UARTEx_DisableFifoMode(&hlpuart1) != HAL_OK)
  {
    Error_Handler();
  }

}

static void MX_SPI1_Init(void)
{

  /* SPI1 parameter configuration*/
  hspi1.Instance = SPI1;
  hspi1.Init.Mode = SPI_MODE_MASTER;
  hspi1.Init.Direction = SPI_DIRECTION_2LINES;
  hspi1.Init.DataSize = SPI_DATASIZE_8BIT;
  hspi1.Init.CLKPolarity = SPI_POLARITY_LOW;
  hspi1.Init.CLKPhase = SPI_PHASE_1EDGE;
  hspi1.Init.NSS = SPI_NSS_SOFT;
  hspi1.Init.BaudRatePrescaler = SPI_BAUDRATEPRESCALER_32;
  hspi1.Init.FirstBit = SPI_FIRSTBIT_MSB;
  hspi1.Init.TIMode = SPI_TIMODE_DISABLE;
  hspi1.Init.CRCCalculation = SPI_CRCCALCULATION_DISABLE;
  hspi1.Init.CRCPolynomial = 7;
  hspi1.Init.CRCLength = SPI_CRC_LENGTH_DATASIZE;
  hspi1.Init.NSSPMode = SPI_NSS_PULSE_ENABLE;
  if (HAL_SPI_Init(&hspi1) != HAL_OK)
  {
    Error_Handler();
  }

}

static void MX_TIM1_Init(void)
{

  TIM_ClockConfigTypeDef sClockSourceConfig = {0};
  TIM_MasterConfigTypeDef sMasterConfig = {0};

  htim1.Instance = TIM1;
  htim1.Init.Prescaler = 119;
  htim1.Init.CounterMode = TIM_COUNTERMODE_UP;
  htim1.Init.Period = 49;
  htim1.Init.ClockDivision = TIM_CLOCKDIVISION_DIV1;
  htim1.Init.RepetitionCounter = 0;
  htim1.Init.AutoReloadPreload = TIM_AUTORELOAD_PRELOAD_ENABLE;
  if (HAL_TIM_Base_Init(&htim1) != HAL_OK)
  {
    Error_Handler();
  }
  sClockSourceConfig.ClockSource = TIM_CLOCKSOURCE_INTERNAL;
  if (HAL_TIM_ConfigClockSource(&htim1, &sClockSourceConfig) != HAL_OK)
  {
    Error_Handler();
  }
  sMasterConfig.MasterOutputTrigger = TIM_TRGO_RESET;
  sMasterConfig.MasterOutputTrigger2 = TIM_TRGO2_RESET;
  sMasterConfig.MasterSlaveMode = TIM_MASTERSLAVEMODE_DISABLE;
  if (HAL_TIMEx_MasterConfigSynchronization(&htim1, &sMasterConfig) != HAL_OK)
  {
    Error_Handler();
  }

}

static void MX_TIM2_Init(void)
{

  TIM_ClockConfigTypeDef sClockSourceConfig = {0};
  TIM_MasterConfigTypeDef sMasterConfig = {0};

  htim2.Instance = TIM2;
  htim2.Init.Prescaler = 0;
  htim2.Init.CounterMode = TIM_COUNTERMODE_UP;
  htim2.Init.Period = 4999;
  htim2.Init.ClockDivision = TIM_CLOCKDIVISION_DIV1;
  htim2.Init.AutoReloadPreload = TIM_AUTORELOAD_PRELOAD_DISABLE;
  if (HAL_TIM_Base_Init(&htim2) != HAL_OK)
  {
    Error_Handler();
  }
  sClockSourceConfig.ClockSource = TIM_CLOCKSOURCE_INTERNAL;
  if (HAL_TIM_ConfigClockSource(&htim2, &sClockSourceConfig) != HAL_OK)
  {
    Error_Handler();
  }
  sMasterConfig.MasterOutputTrigger = TIM_TRGO_UPDATE;
  sMasterConfig.MasterSlaveMode = TIM_MASTERSLAVEMODE_DISABLE;
  if (HAL_TIMEx_MasterConfigSynchronization(&htim2, &sMasterConfig) != HAL_OK)
  {
    Error_Handler();
  }

}

static void MX_TIM3_Init(void)
{

  TIM_ClockConfigTypeDef sClockSourceConfig = {0};
  TIM_MasterConfigTypeDef sMasterConfig = {0};

  htim3.Instance = TIM3;
  htim3.Init.Prescaler = 0;
  htim3.Init.CounterMode = TIM_COUNTERMODE_UP;
  htim3.Init.Period = 65535;
  htim3.Init.ClockDivision = TIM_CLOCKDIVISION_DIV1;
  htim3.Init.AutoReloadPreload = TIM_AUTORELOAD_PRELOAD_DISABLE;
  if (HAL_TIM_Base_Init(&htim3) != HAL_OK)
  {
    Error_Handler();
  }
  sClockSourceConfig.ClockSource = TIM_CLOCKSOURCE_INTERNAL;
  if (HAL_TIM_ConfigClockSource(&htim3, &sClockSourceConfig) != HAL_OK)
  {
    Error_Handler();
  }
  sMasterConfig.MasterOutputTrigger = TIM_TRGO_UPDATE;
  sMasterConfig.MasterSlaveMode = TIM_MASTERSLAVEMODE_DISABLE;
  if (HAL_TIMEx_MasterConfigSynchronization(&htim3, &sMasterConfig) != HAL_OK)
  {
    Error_Handler();
  }

}

static void MX_DMA_Init(void)
{

  /* DMA controller clock enable */
  __HAL_RCC_DMAMUX1_CLK_ENABLE();
  __HAL_RCC_DMA1_CLK_ENABLE();

  /* DMA interrupt init */
  /* DMA1_Channel1_IRQn interrupt configuration */
  HAL_NVIC_SetPriority(DMA1_Channel1_IRQn, 0, 0);
  HAL_NVIC_EnableIRQ(DMA1_Channel1_IRQn);
  /* DMA1_Channel2_IRQn interrupt configuration */
  HAL_NVIC_SetPriority(DMA1_Channel2_IRQn, 0, 0);
  HAL_NVIC_EnableIRQ(DMA1_Channel2_IRQn);
  /* DMA1_Channel3_IRQn interrupt configuration */
  HAL_NVIC_SetPriority(DMA1_Channel3_IRQn, 0, 0);
  HAL_NVIC_EnableIRQ(DMA1_Channel3_IRQn);

}

static void MX_GPIO_Init(void)
{
  GPIO_InitTypeDef GPIO_InitStruct = {0};

  /* GPIO Ports Clock Enable */
  __HAL_RCC_GPIOE_CLK_ENABLE();
  __HAL_RCC_GPIOC_CLK_ENABLE();
  __HAL_RCC_GPIOF_CLK_ENABLE();
  __HAL_RCC_GPIOH_CLK_ENABLE();
  __HAL_RCC_GPIOA_CLK_ENABLE();
  __HAL_RCC_GPIOB_CLK_ENABLE();
  __HAL_RCC_GPIOD_CLK_ENABLE();
  __HAL_RCC_GPIOG_CLK_ENABLE();
  HAL_PWREx_EnableVddIO2();

  /*Configure GPIO pin Output Level */
  HAL_GPIO_WritePin(GPIOF, Col_4_Pin|Col_3_Pin|Col_2_Pin, GPIO_PIN_RESET);

  /*Configure GPIO pin Output Level */
  HAL_GPIO_WritePin(GPIOC, GPIO_PIN_6|GPIO_PIN_8|GPIO_PIN_9, GPIO_PIN_RESET);

  /*Configure GPIO pin Output Level */
  HAL_GPIO_WritePin(Col_1_GPIO_Port, Col_1_Pin, GPIO_PIN_RESET);

  /*Configure GPIO pins : PE2 PE3 */
  GPIO_InitStruct.Pin = GPIO_PIN_2|GPIO_PIN_3;
  GPIO_InitStruct.Mode = GPIO_MODE_AF_PP;
  GPIO_InitStruct.Pull = GPIO_NOPULL;
  GPIO_InitStruct.Speed = GPIO_SPEED_FREQ_LOW;
  GPIO_InitStruct.Alternate = GPIO_AF13_SAI1;
  HAL_GPIO_Init(GPIOE, &GPIO_InitStruct);

  /*Configure GPIO pins : Col_4_Pin Col_3_Pin Col_2_Pin */
  GPIO_InitStruct.Pin = Col_4_Pin|Col_3_Pin|Col_2_Pin;
  GPIO_InitStruct.Mode = GPIO_MODE_OUTPUT_PP;
  GPIO_InitStruct.Pull = GPIO_NOPULL;
  GPIO_InitStruct.Speed = GPIO_SPEED_FREQ_LOW;
  HAL_GPIO_Init(GPIOF, &GPIO_InitStruct);

  /*Configure GPIO pin : PF7 */
  GPIO_InitStruct.Pin = GPIO_PIN_7;
  GPIO_InitStruct.Mode = GPIO_MODE_AF_PP;
  GPIO_InitStruct.Pull = GPIO_NOPULL;
  GPIO_InitStruct.Speed = GPIO_SPEED_FREQ_LOW;
  GPIO_InitStruct.Alternate = GPIO_AF13_SAI1;
  HAL_GPIO_Init(GPIOF, &GPIO_InitStruct);

  /*Configure GPIO pins : Row_1_Pin Row_2_Pin Row_3_Pin */
  GPIO_InitStruct.Pin = Row_1_Pin|Row_2_Pin|Row_3_Pin;
  GPIO_InitStruct.Mode = GPIO_MODE_INPUT;
  GPIO_InitStruct.Pull = GPIO_PULLUP;
  HAL_GPIO_Init(GPIOC, &GPIO_InitStruct);

  /*Configure GPIO pin : Row_4_Pin */
  GPIO_InitStruct.Pin = Row_4_Pin;
  GPIO_InitStruct.Mode = GPIO_MODE_INPUT;
  GPIO_InitStruct.Pull = GPIO_PULLUP;
  HAL_GPIO_Init(Row_4_GPIO_Port, &GPIO_InitStruct);

  /*Configure GPIO pins : PB12 PB13 PB15 */
  GPIO_InitStruct.Pin = GPIO_PIN_12|GPIO_PIN_13|GPIO_PIN_15;
  GPIO_InitStruct.Mode = GPIO_MODE_AF_PP;
  GPIO_InitStruct.Pull = GPIO_NOPULL;
  GPIO_InitStruct.Speed = GPIO_SPEED_FREQ_LOW;
  GPIO_InitStruct.Alternate = GPIO_AF13_SAI2;
  HAL_GPIO_Init(GPIOB, &GPIO_InitStruct);

  /*Configure GPIO pin : PB14 */
  GPIO_InitStruct.Pin = GPIO_PIN_14;
  GPIO_InitStruct.Mode = GPIO_MODE_AF_PP;
  GPIO_InitStruct.Pull = GPIO_NOPULL;
  GPIO_InitStruct.Speed = GPIO_SPEED_FREQ_LOW;
  GPIO_InitStruct.Alternate = GPIO_AF14_TIM15;
  HAL_GPIO_Init(GPIOB, &GPIO_InitStruct);

  /*Configure GPIO pins : PD8 PD9 */
  GPIO_InitStruct.Pin = GPIO_PIN_8|GPIO_PIN_9;
  GPIO_InitStruct.Mode = GPIO_MODE_AF_PP;
  GPIO_InitStruct.Pull = GPIO_NOPULL;
  GPIO_InitStruct.Speed = GPIO_SPEED_FREQ_VERY_HIGH;
  GPIO_InitStruct.Alternate = GPIO_AF7_USART3;
  HAL_GPIO_Init(GPIOD, &GPIO_InitStruct);

  /*Configure GPIO pins : PD14 PD15 */
  GPIO_InitStruct.Pin = GPIO_PIN_14|GPIO_PIN_15;
  GPIO_InitStruct.Mode = GPIO_MODE_AF_PP;
  GPIO_InitStruct.Pull = GPIO_NOPULL;
  GPIO_InitStruct.Speed = GPIO_SPEED_FREQ_LOW;
  GPIO_InitStruct.Alternate = GPIO_AF2_TIM4;
  HAL_GPIO_Init(GPIOD, &GPIO_InitStruct);

  /*Configure GPIO pins : PC6 PC8 PC9 */
  GPIO_InitStruct.Pin = GPIO_PIN_6|GPIO_PIN_8|GPIO_PIN_9;
  GPIO_InitStruct.Mode = GPIO_MODE_OUTPUT_PP;
  GPIO_InitStruct.Pull = GPIO_NOPULL;
  GPIO_InitStruct.Speed = GPIO_SPEED_FREQ_LOW;
  HAL_GPIO_Init(GPIOC, &GPIO_InitStruct);

  /*Configure GPIO pins : PA8 PA10 */
  GPIO_InitStruct.Pin = GPIO_PIN_8|GPIO_PIN_10;
  GPIO_InitStruct.Mode = GPIO_MODE_AF_PP;
  GPIO_InitStruct.Pull = GPIO_NOPULL;
  GPIO_InitStruct.Speed = GPIO_SPEED_FREQ_VERY_HIGH;
  GPIO_InitStruct.Alternate = GPIO_AF10_OTG_FS;
  HAL_GPIO_Init(GPIOA, &GPIO_InitStruct);

  /*Configure GPIO pin : PA9 */
  GPIO_InitStruct.Pin = GPIO_PIN_9;
  GPIO_InitStruct.Mode = GPIO_MODE_INPUT;
  GPIO_InitStruct.Pull = GPIO_NOPULL;
  HAL_GPIO_Init(GPIOA, &GPIO_InitStruct);

  /*Configure GPIO pins : PC10 PC11 PC12 */
  GPIO_InitStruct.Pin = GPIO_PIN_10|GPIO_PIN_11|GPIO_PIN_12;
  GPIO_InitStruct.Mode = GPIO_MODE_AF_PP;
  GPIO_InitStruct.Pull = GPIO_NOPULL;
  GPIO_InitStruct.Speed = GPIO_SPEED_FREQ_VERY_HIGH;
  GPIO_InitStruct.Alternate = GPIO_AF12_SDMMC1;
  HAL_GPIO_Init(GPIOC, &GPIO_InitStruct);

  /*Configure GPIO pin : PD0 */
  GPIO_InitStruct.Pin = GPIO_PIN_0;
  GPIO_InitStruct.Mode = GPIO_MODE_AF_PP;
  GPIO_InitStruct.Pull = GPIO_NOPULL;
  GPIO_InitStruct.Speed = GPIO_SPEED_FREQ_VERY_HIGH;
  GPIO_InitStruct.Alternate = GPIO_AF9_CAN1;
  HAL_GPIO_Init(GPIOD, &GPIO_InitStruct);

  /*Configure GPIO pin : PD2 */
  GPIO_InitStruct.Pin = GPIO_PIN_2;
  GPIO_InitStruct.Mode = GPIO_MODE_AF_PP;
  GPIO_InitStruct.Pull = GPIO_NOPULL;
  GPIO_InitStruct.Speed = GPIO_SPEED_FREQ_VERY_HIGH;
  GPIO_InitStruct.Alternate = GPIO_AF12_SDMMC1;
  HAL_GPIO_Init(GPIOD, &GPIO_InitStruct);

  /*Configure GPIO pins : PD3 PD5 PD6 */
  GPIO_InitStruct.Pin = GPIO_PIN_3|GPIO_PIN_5|GPIO_PIN_6;
  GPIO_InitStruct.Mode = GPIO_MODE_AF_PP;
  GPIO_InitStruct.Pull = GPIO_NOPULL;
  GPIO_InitStruct.Speed = GPIO_SPEED_FREQ_VERY_HIGH;
  GPIO_InitStruct.Alternate = GPIO_AF7_USART2;
  HAL_GPIO_Init(GPIOD, &GPIO_InitStruct);

  /*Configure GPIO pins : PB3 PB4 PB5 */
  GPIO_InitStruct.Pin = GPIO_PIN_3|GPIO_PIN_4|GPIO_PIN_5;
  GPIO_InitStruct.Mode = GPIO_MODE_AF_PP;
  GPIO_InitStruct.Pull = GPIO_NOPULL;
  GPIO_InitStruct.Speed = GPIO_SPEED_FREQ_VERY_HIGH;
  GPIO_InitStruct.Alternate = GPIO_AF6_SPI3;
  HAL_GPIO_Init(GPIOB, &GPIO_InitStruct);

  /*Configure GPIO pin : Col_1_Pin */
  GPIO_InitStruct.Pin = Col_1_Pin;
  GPIO_InitStruct.Mode = GPIO_MODE_OUTPUT_PP;
  GPIO_InitStruct.Pull = GPIO_NOPULL;
  GPIO_InitStruct.Speed = GPIO_SPEED_FREQ_LOW;
  HAL_GPIO_Init(Col_1_GPIO_Port, &GPIO_InitStruct);

  /*Configure GPIO pins : PB8 PB9 */
  GPIO_InitStruct.Pin = GPIO_PIN_8|GPIO_PIN_9;
  GPIO_InitStruct.Mode = GPIO_MODE_AF_OD;
  GPIO_InitStruct.Pull = GPIO_NOPULL;
  GPIO_InitStruct.Speed = GPIO_SPEED_FREQ_VERY_HIGH;
  GPIO_InitStruct.Alternate = GPIO_AF4_I2C1;
  HAL_GPIO_Init(GPIOB, &GPIO_InitStruct);

  /*Configure GPIO pin : PE0 */
  GPIO_InitStruct.Pin = GPIO_PIN_0;
  GPIO_InitStruct.Mode = GPIO_MODE_AF_PP;
  GPIO_InitStruct.Pull = GPIO_NOPULL;
  GPIO_InitStruct.Speed = GPIO_SPEED_FREQ_LOW;
  GPIO_InitStruct.Alternate = GPIO_AF2_TIM4;
  HAL_GPIO_Init(GPIOE, &GPIO_InitStruct);

  /* USER CODE BEGIN MX_GPIO_Init_2 */

  /*Configure GPIO pins : PD8 PD9 (USART3 TX/RX) */
  GPIO_InitStruct.Pin = GPIO_PIN_8 | GPIO_PIN_9;
  GPIO_InitStruct.Mode = GPIO_MODE_AF_PP;
  GPIO_InitStruct.Pull = GPIO_NOPULL;
  GPIO_InitStruct.Speed = GPIO_SPEED_FREQ_VERY_HIGH;
  GPIO_InitStruct.Alternate = GPIO_AF7_USART3;
  HAL_GPIO_Init(GPIOD, &GPIO_InitStruct);

  /* USER CODE END MX_GPIO_Init_2 */
}

/* USER CODE BEGIN 4 */

	static void uart_start_header_rx(void)
	{
		g_uart_rx.state = RX_STATE_WAIT_PREFIX;
		HAL_UART_Receive_DMA(&hlpuart1,
							g_uart_rx.prefix_buf,
							PKT_PREFIX_SIZE);   // 9 bytes: sync + header

	}

	void HAL_UART_RxCpltCallback(UART_HandleTypeDef *huart)
	{
	    if (huart->Instance != LPUART1)
	        return;

	    if (g_uart_rx.state == RX_STATE_WAIT_PREFIX) {
	        // We just received sync + header (9 bytes)
	        uint8_t *buf = g_uart_rx.prefix_buf;

	        // 1) Check sync bytes
	        if (buf[0] != 0xA5 || buf[1] != 0x5A) {
	            uart_start_header_rx();
	            return;
	        }

	        // 2) Extract payload length
	        uint16_t payload_len = ((uint16_t)buf[7] << 8) | buf[8];

	        // 3) Parse header fields
	        g_uart_rx.header.version   = buf[2];
	        g_uart_rx.header.data_type = buf[3];
	        g_uart_rx.header.flags     = buf[4];
	        g_uart_rx.header.seq       = ((uint16_t)buf[5] << 8) | buf[6];
	        g_uart_rx.header.len       = payload_len;
	        g_uart_rx.payload_len      = payload_len;

	        // 4) Choose destination buffer based on packet type
	        switch (g_uart_rx.header.data_type) {
	        case PKT_DATA_IMAGE:
	            if (payload_len + PKT_CRC_SIZE > sizeof(image_pkt_buf)) {
	                uart_start_header_rx();
	                return;
	            }
	            g_uart_rx.payload_dst = image_pkt_buf;
	            break;

	        case PKT_DATA_AUDIO:
	            // Sanity-check payload length in BYTES (just payload, *not* CRC)
	            if (payload_len > AUD_MAX_PAYLOAD_BYTES) {
	                uart_start_header_rx();
	                return;
	            }

	            // Choose a free half of dac_buf as DMA destination for the *payload*
	            if (half0_free) {
	                g_uart_rx.payload_dst = audio_pkt_buf0; // first half of dac_buf
	                audio_write_idx = 0;
	                half0_free = 0;  // now reserved
	            } else if (half1_free) {
	                g_uart_rx.payload_dst = audio_pkt_buf1; // second half of dac_buf
	                audio_write_idx = 1;
	                half1_free = 0;  // now reserved
	            } else {
	                // No free half; can't accept this packet safely
	                uart_start_header_rx();
	                return;
	            }
	            break;

	        default:
	            // Unknown type -> ignore this frame
	            uart_start_header_rx();
	            return;
	        }

	        // 5) Set state and start DMA for payload + CRC
	        g_uart_rx.state = RX_STATE_WAIT_PAYLOAD;

	        if (g_uart_rx.header.data_type == PKT_DATA_IMAGE) {
	            // Image: payload + CRC in one shot, as before
	            HAL_UART_Receive_DMA(&hlpuart1,
	                                 g_uart_rx.payload_dst,
	                                 payload_len + PKT_CRC_SIZE);
	        } else {
	            // Audio: ONLY the payload goes into dac_buf
	            HAL_UART_Receive_DMA(&hlpuart1,
	                                 g_uart_rx.payload_dst,
	                                 payload_len);
	        }

	        // 6) Tell PC "header OK, I'm ready for payload"
	        uint8_t ack_hdr = UART_ACK_HEADER;  // 'H'
	        HAL_UART_Transmit(&hlpuart1, &ack_hdr, 1, 10);
	    }
	    else if (g_uart_rx.state == RX_STATE_WAIT_PAYLOAD) {
	        if (g_uart_rx.header.data_type == PKT_DATA_IMAGE) {
	            // IMAGE: we already DMA'd payload+CRC into image_pkt_buf
	            image_pkt_len   = g_uart_rx.payload_len;  // payload length (no CRC)
	            image_pkt_ready = 1;

	            // Back to waiting for next header
	            uart_start_header_rx();
	        }
	        else if (g_uart_rx.header.data_type == PKT_DATA_AUDIO) {
	            // AUDIO: we have JUST the payload in dac_buf now.
	            // Next, we need to grab the 2 CRC bytes.

	            g_uart_rx.state = RX_STATE_WAIT_CRC;

	            // Start a tiny 2-byte DMA into audio_crc_buf
	            HAL_UART_Receive_DMA(&hlpuart1,
	                                 audio_crc_buf,
	                                 PKT_CRC_SIZE);
	            // Do NOT call uart_start_header_rx() yet; we still need CRC.
	        }
	    }
	    else if (g_uart_rx.state == RX_STATE_WAIT_CRC) {
	        // We just finished receiving the 2 CRC bytes for an audio packet
	        if (g_uart_rx.header.data_type == PKT_DATA_AUDIO) {
	            audio_pkt_len   = g_uart_rx.payload_len;  // just payload length
	            audio_pkt_ready = 1;
	        }

	        // Now we can go back to waiting for a new header
	        uart_start_header_rx();
	    }

	}

	void HAL_DAC_ConvHalfCpltCallbackCh1(DAC_HandleTypeDef *hdac)
	{
	    if (hdac->Instance != DAC1) return;

	    // Just finished playing first half [0 .. DAC_HALF_SAMPLES-1],
	    // now DMA is reading second half.
	    half0_free = 1;

	    // Request next audio chunk from PC
	    uint8_t req = UART_ACK_NEXT_AUDIO_CHUNK; // 'A'
	    HAL_UART_Transmit(&hlpuart1, &req, 1, 10);

	}

	void HAL_DAC_ConvCpltCallbackCh1(DAC_HandleTypeDef *hdac)
	{
	    if (hdac->Instance != DAC1) return;

	    // Just finished second half [DAC_HALF_SAMPLES .. end],
	    // now DMA wrapped back to first half.
	    half1_free = 1;

	    uint8_t req = UART_ACK_NEXT_AUDIO_CHUNK; // 'A'
	    HAL_UART_Transmit(&hlpuart1, &req, 1, 10);

	}

/* USER CODE END 4 */

void Error_Handler(void)
{
  __disable_irq();
  while (1)
  {
  }
}
